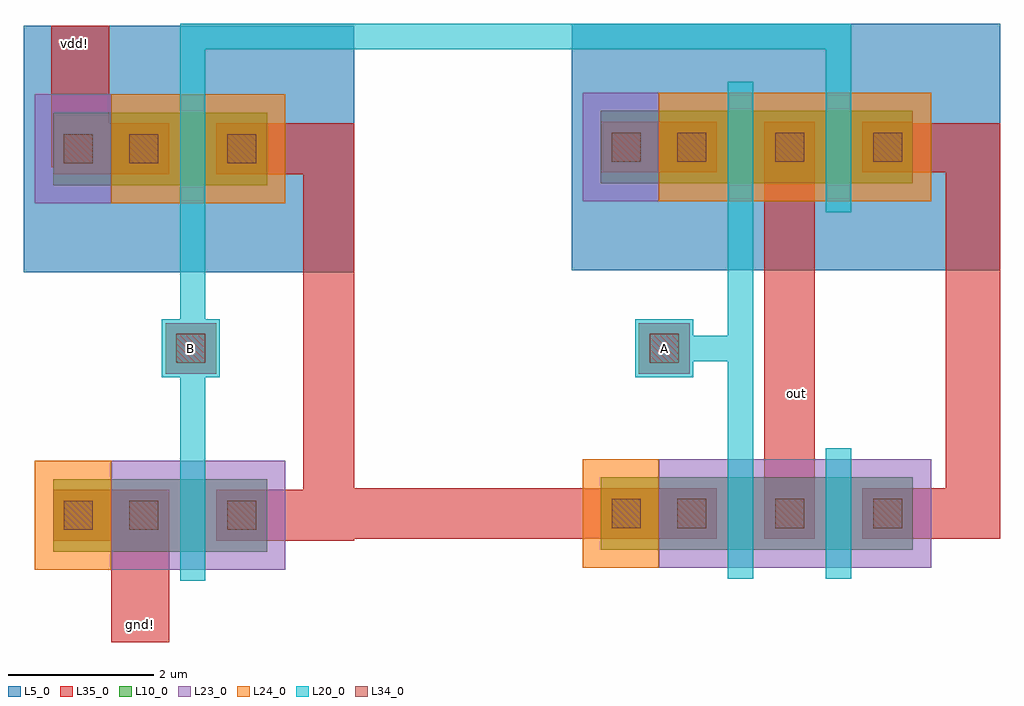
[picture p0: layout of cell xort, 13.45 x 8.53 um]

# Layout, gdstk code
from math import pi, radians
import gdstk
lib = gdstk.Library(unit=1e-6, precision=1e-09)
def R(c, l, rs):  # rectangles x0, y0, x1, y1
    for r in rs: c.add(gdstk.rectangle(r[:2], r[2:], *l))
L5_0 = (5, 0)
L10_0 = (10, 0)
L20_0 = (20, 0)
L23_0 = (23, 0)
L24_0 = (24, 0)
L34_0 = (34, 0)
L35_0 = (35, 0)

nmos4_cdns_713966862470 = lib.new_cell('nmos4_CDNS_713966862470')
R(nmos4_cdns_713966862470, L10_0, [(0,-0.2,1,0), (0,0.35,1,0.9), (0,1.15,1,1.2)])
R(nmos4_cdns_713966862470, L23_0, [(-0.25,-0.1,1.25,1.45)])
R(nmos4_cdns_713966862470, L24_0, [(-0.25,-1.15,1.25,-0.1)])
R(nmos4_cdns_713966862470, L34_0, [(0.3,-0.75,0.7,-0.35), (0.3,0.15,0.7,0.55)])
R(nmos4_cdns_713966862470, L35_0, [(0.15,-0.2,0.85,0)])
nmos4_cdns_713966862470.add(gdstk.FlexPath([(1,1.025),(1.4,1.025)], 0.35, ends="flush", simple_path=True, layer=20, datatype=0))  # L20_0
nmos4_cdns_713966862470.add(gdstk.FlexPath([(-0.4,1.025),(0,1.025)], 0.35, ends="flush", simple_path=True, layer=20, datatype=0))  # L20_0
nmos4_cdns_713966862470.add(gdstk.FlexPath([(0,1.025),(1,1.025)], 0.35, ends="flush", simple_path=True, layer=20, datatype=0))  # L20_0
nmos4_cdns_713966862470.add(gdstk.FlexPath([(0,-0.55),(1,-0.55)], 0.7, ends="flush", simple_path=True, layer=10, datatype=0))  # L10_0
nmos4_cdns_713966862470.add(gdstk.FlexPath([(0,0.35),(1,0.35)], 0.7, ends="flush", simple_path=True, layer=10, datatype=0))  # L10_0
nmos4_cdns_713966862470.add(gdstk.FlexPath([(0,1.025),(1,1.025)], 0.35, ends="flush", simple_path=True, layer=10, datatype=0))  # L10_0
nmos4_cdns_713966862470.add(gdstk.FlexPath([(0.15,-0.55),(0.85,-0.55)], 0.7, ends="flush", simple_path=True, layer=35, datatype=0))  # L35_0
nmos4_cdns_713966862470.add(gdstk.FlexPath([(0.15,0.35),(0.85,0.35)], 0.7, ends="flush", simple_path=True, layer=35, datatype=0))  # L35_0
nmos4_cdns_713966862470.add(gdstk.Label('B', (0.5,-0.55), layer=61, texttype=0))
nmos4_cdns_713966862470.add(gdstk.Label('S', (0.5,0.35), layer=61, texttype=0))

pmos4_cdns_713966862471 = lib.new_cell('pmos4_CDNS_713966862471')
R(pmos4_cdns_713966862471, L5_0, [(-1.2,-1.3,2.2,3.25), (-1.2,-1.3,2.2,3.25)])
R(pmos4_cdns_713966862471, L10_0, [(0,-0.2,1,0), (0,0.35,1,0.9), (0,1.15,1,2.2)])
R(pmos4_cdns_713966862471, L23_0, [(-0.25,-1.15,1.25,-0.1)])
R(pmos4_cdns_713966862471, L24_0, [(-0.25,-0.1,1.25,2.3)])
R(pmos4_cdns_713966862471, L34_0, [(0.3,-0.75,0.7,-0.35), (0.3,0.15,0.7,0.55), (0.3,1.5,0.7,1.9)])
R(pmos4_cdns_713966862471, L35_0, [(0.15,-0.2,0.85,0)])
pmos4_cdns_713966862471.add(gdstk.FlexPath([(1,1.025),(1.4,1.025)], 0.35, ends="flush", simple_path=True, layer=20, datatype=0))  # L20_0
pmos4_cdns_713966862471.add(gdstk.FlexPath([(-0.4,1.025),(0,1.025)], 0.35, ends="flush", simple_path=True, layer=20, datatype=0))  # L20_0
pmos4_cdns_713966862471.add(gdstk.FlexPath([(0,1.025),(1,1.025)], 0.35, ends="flush", simple_path=True, layer=20, datatype=0))  # L20_0
pmos4_cdns_713966862471.add(gdstk.FlexPath([(0,-0.55),(1,-0.55)], 0.7, ends="flush", simple_path=True, layer=10, datatype=0))  # L10_0
pmos4_cdns_713966862471.add(gdstk.FlexPath([(0,1.7),(1,1.7)], 0.7, ends="flush", simple_path=True, layer=10, datatype=0))  # L10_0
pmos4_cdns_713966862471.add(gdstk.FlexPath([(0,0.35),(1,0.35)], 0.7, ends="flush", simple_path=True, layer=10, datatype=0))  # L10_0
pmos4_cdns_713966862471.add(gdstk.FlexPath([(0,1.025),(1,1.025)], 0.35, ends="flush", simple_path=True, layer=10, datatype=0))  # L10_0
pmos4_cdns_713966862471.add(gdstk.FlexPath([(0.15,-0.55),(0.85,-0.55)], 0.7, ends="flush", simple_path=True, layer=35, datatype=0))  # L35_0
pmos4_cdns_713966862471.add(gdstk.FlexPath([(0.15,1.7),(0.85,1.7)], 0.7, ends="flush", simple_path=True, layer=35, datatype=0))  # L35_0
pmos4_cdns_713966862471.add(gdstk.FlexPath([(0.15,0.35),(0.85,0.35)], 0.7, ends="flush", simple_path=True, layer=35, datatype=0))  # L35_0
pmos4_cdns_713966862471.add(gdstk.Label('B', (0.5,-0.55), layer=61, texttype=0))
pmos4_cdns_713966862471.add(gdstk.Label('D', (0.5,1.7), layer=61, texttype=0))
pmos4_cdns_713966862471.add(gdstk.Label('S', (0.5,0.35), layer=61, texttype=0))

nmos4_cdns_713966862472 = lib.new_cell('nmos4_CDNS_713966862472')
R(nmos4_cdns_713966862472, L10_0, [(0,-0.2,1,0), (0,0.35,1,0.9), (0,1.15,1,1.7)])
R(nmos4_cdns_713966862472, L23_0, [(-0.25,-0.1,1.25,2.3)])
R(nmos4_cdns_713966862472, L24_0, [(-0.25,-1.15,1.25,-0.1)])
R(nmos4_cdns_713966862472, L34_0, [(0.3,-0.75,0.7,-0.35), (0.3,0.15,0.7,0.55), (0.3,1.5,0.7,1.9)])
R(nmos4_cdns_713966862472, L35_0, [(0.15,-0.2,0.85,0)])
nmos4_cdns_713966862472.add(gdstk.FlexPath([(1,1.025),(1.4,1.025)], 0.35, ends="flush", simple_path=True, layer=20, datatype=0))  # L20_0
nmos4_cdns_713966862472.add(gdstk.FlexPath([(-0.4,1.025),(0,1.025)], 0.35, ends="flush", simple_path=True, layer=20, datatype=0))  # L20_0
nmos4_cdns_713966862472.add(gdstk.FlexPath([(0,1.025),(1,1.025)], 0.35, ends="flush", simple_path=True, layer=20, datatype=0))  # L20_0
nmos4_cdns_713966862472.add(gdstk.FlexPath([(0,-0.55),(1,-0.55)], 0.7, ends="flush", simple_path=True, layer=10, datatype=0))  # L10_0
nmos4_cdns_713966862472.add(gdstk.FlexPath([(0,1.7),(1,1.7)], 0.7, ends="flush", simple_path=True, layer=10, datatype=0))  # L10_0
nmos4_cdns_713966862472.add(gdstk.FlexPath([(0,0.35),(1,0.35)], 0.7, ends="flush", simple_path=True, layer=10, datatype=0))  # L10_0
nmos4_cdns_713966862472.add(gdstk.FlexPath([(0,1.025),(1,1.025)], 0.35, ends="flush", simple_path=True, layer=10, datatype=0))  # L10_0
nmos4_cdns_713966862472.add(gdstk.FlexPath([(0.15,-0.55),(0.85,-0.55)], 0.7, ends="flush", simple_path=True, layer=35, datatype=0))  # L35_0
nmos4_cdns_713966862472.add(gdstk.FlexPath([(0.15,1.7),(0.85,1.7)], 0.7, ends="flush", simple_path=True, layer=35, datatype=0))  # L35_0
nmos4_cdns_713966862472.add(gdstk.FlexPath([(0.15,0.35),(0.85,0.35)], 0.7, ends="flush", simple_path=True, layer=35, datatype=0))  # L35_0
nmos4_cdns_713966862472.add(gdstk.Label('B', (0.5,-0.55), layer=61, texttype=0))
nmos4_cdns_713966862472.add(gdstk.Label('D', (0.5,1.7), layer=61, texttype=0))
nmos4_cdns_713966862472.add(gdstk.Label('S', (0.5,0.35), layer=61, texttype=0))

pmos4_cdns_713966862473 = lib.new_cell('pmos4_CDNS_713966862473')
R(pmos4_cdns_713966862473, L5_0, [(-1.2,-1.3,2.2,3.25), (-1.2,-1.3,2.2,3.25)])
R(pmos4_cdns_713966862473, L10_0, [(0,-0.2,1,0), (0,0.35,1,0.9), (0,1.15,1,1.7)])
R(pmos4_cdns_713966862473, L23_0, [(-0.25,-1.15,1.25,-0.1)])
R(pmos4_cdns_713966862473, L24_0, [(-0.25,-0.1,1.25,2.3)])
R(pmos4_cdns_713966862473, L34_0, [(0.3,-0.75,0.7,-0.35), (0.3,0.15,0.7,0.55), (0.3,1.5,0.7,1.9)])
R(pmos4_cdns_713966862473, L35_0, [(0.15,-0.2,0.85,0)])
pmos4_cdns_713966862473.add(gdstk.FlexPath([(1,1.025),(1.4,1.025)], 0.35, ends="flush", simple_path=True, layer=20, datatype=0))  # L20_0
pmos4_cdns_713966862473.add(gdstk.FlexPath([(-0.4,1.025),(0,1.025)], 0.35, ends="flush", simple_path=True, layer=20, datatype=0))  # L20_0
pmos4_cdns_713966862473.add(gdstk.FlexPath([(0,1.025),(1,1.025)], 0.35, ends="flush", simple_path=True, layer=20, datatype=0))  # L20_0
pmos4_cdns_713966862473.add(gdstk.FlexPath([(0,-0.55),(1,-0.55)], 0.7, ends="flush", simple_path=True, layer=10, datatype=0))  # L10_0
pmos4_cdns_713966862473.add(gdstk.FlexPath([(0,1.7),(1,1.7)], 0.7, ends="flush", simple_path=True, layer=10, datatype=0))  # L10_0
pmos4_cdns_713966862473.add(gdstk.FlexPath([(0,0.35),(1,0.35)], 0.7, ends="flush", simple_path=True, layer=10, datatype=0))  # L10_0
pmos4_cdns_713966862473.add(gdstk.FlexPath([(0,1.025),(1,1.025)], 0.35, ends="flush", simple_path=True, layer=10, datatype=0))  # L10_0
pmos4_cdns_713966862473.add(gdstk.FlexPath([(0.15,-0.55),(0.85,-0.55)], 0.7, ends="flush", simple_path=True, layer=35, datatype=0))  # L35_0
pmos4_cdns_713966862473.add(gdstk.FlexPath([(0.15,1.7),(0.85,1.7)], 0.7, ends="flush", simple_path=True, layer=35, datatype=0))  # L35_0
pmos4_cdns_713966862473.add(gdstk.FlexPath([(0.15,0.35),(0.85,0.35)], 0.7, ends="flush", simple_path=True, layer=35, datatype=0))  # L35_0
pmos4_cdns_713966862473.add(gdstk.Label('B', (0.5,-0.55), layer=61, texttype=0))
pmos4_cdns_713966862473.add(gdstk.Label('D', (0.5,1.7), layer=61, texttype=0))
pmos4_cdns_713966862473.add(gdstk.Label('S', (0.5,0.35), layer=61, texttype=0))

nmos4_cdns_713966862474 = lib.new_cell('nmos4_CDNS_713966862474')
R(nmos4_cdns_713966862474, L10_0, [(0,-0.15,1,0.9), (0,1.15,1,1.7)])
R(nmos4_cdns_713966862474, L23_0, [(-0.25,-0.25,1.25,2.3)])
R(nmos4_cdns_713966862474, L34_0, [(0.3,0.15,0.7,0.55), (0.3,1.5,0.7,1.9)])
nmos4_cdns_713966862474.add(gdstk.FlexPath([(1,1.025),(1.4,1.025)], 0.35, ends="flush", simple_path=True, layer=20, datatype=0))  # L20_0
nmos4_cdns_713966862474.add(gdstk.FlexPath([(-0.4,1.025),(0,1.025)], 0.35, ends="flush", simple_path=True, layer=20, datatype=0))  # L20_0
nmos4_cdns_713966862474.add(gdstk.FlexPath([(0,1.025),(1,1.025)], 0.35, ends="flush", simple_path=True, layer=20, datatype=0))  # L20_0
nmos4_cdns_713966862474.add(gdstk.FlexPath([(0,1.7),(1,1.7)], 0.7, ends="flush", simple_path=True, layer=10, datatype=0))  # L10_0
nmos4_cdns_713966862474.add(gdstk.FlexPath([(0,0.35),(1,0.35)], 0.7, ends="flush", simple_path=True, layer=10, datatype=0))  # L10_0
nmos4_cdns_713966862474.add(gdstk.FlexPath([(0,1.025),(1,1.025)], 0.35, ends="flush", simple_path=True, layer=10, datatype=0))  # L10_0
nmos4_cdns_713966862474.add(gdstk.FlexPath([(0.15,1.7),(0.85,1.7)], 0.7, ends="flush", simple_path=True, layer=35, datatype=0))  # L35_0
nmos4_cdns_713966862474.add(gdstk.FlexPath([(0.15,0.35),(0.85,0.35)], 0.7, ends="flush", simple_path=True, layer=35, datatype=0))  # L35_0
nmos4_cdns_713966862474.add(gdstk.Label('D', (0.5,1.7), layer=61, texttype=0))
nmos4_cdns_713966862474.add(gdstk.Label('S', (0.5,0.35), layer=61, texttype=0))

pmos4_cdns_713966862475 = lib.new_cell('pmos4_CDNS_713966862475')
R(pmos4_cdns_713966862475, L5_0, [(-1.2,-0.35,2.2,3.25), (-1.2,-0.35,2.2,3.25)])
R(pmos4_cdns_713966862475, L10_0, [(0,0.85,1,0.9), (0,1.15,1,1.7)])
R(pmos4_cdns_713966862475, L24_0, [(-0.25,0.6,1.25,2.3)])
R(pmos4_cdns_713966862475, L34_0, [(0.3,1.5,0.7,1.9)])
pmos4_cdns_713966862475.add(gdstk.FlexPath([(1,1.025),(1.4,1.025)], 0.35, ends="flush", simple_path=True, layer=20, datatype=0))  # L20_0
pmos4_cdns_713966862475.add(gdstk.FlexPath([(-0.4,1.025),(0,1.025)], 0.35, ends="flush", simple_path=True, layer=20, datatype=0))  # L20_0
pmos4_cdns_713966862475.add(gdstk.FlexPath([(0,1.025),(1,1.025)], 0.35, ends="flush", simple_path=True, layer=20, datatype=0))  # L20_0
pmos4_cdns_713966862475.add(gdstk.FlexPath([(0,1.7),(1,1.7)], 0.7, ends="flush", simple_path=True, layer=10, datatype=0))  # L10_0
pmos4_cdns_713966862475.add(gdstk.FlexPath([(0,1.025),(1,1.025)], 0.35, ends="flush", simple_path=True, layer=10, datatype=0))  # L10_0
pmos4_cdns_713966862475.add(gdstk.FlexPath([(0.15,1.7),(0.85,1.7)], 0.7, ends="flush", simple_path=True, layer=35, datatype=0))  # L35_0
pmos4_cdns_713966862475.add(gdstk.Label('D', (0.5,1.7), layer=61, texttype=0))

p1_c_cdns_713966862470 = lib.new_cell('P1_C_CDNS_713966862470')
R(p1_c_cdns_713966862470, L20_0, [(-0.4,-0.4,0.4,0.4)])
R(p1_c_cdns_713966862470, L34_0, [(-0.2,-0.2,0.2,0.2)])
R(p1_c_cdns_713966862470, L35_0, [(-0.35,-0.35,0.35,0.35)])

xort = lib.new_cell('xort')
R(xort, L35_0, [(1.2,0,2,2.1), (2.65,1.4,4.55,2.1), (4.4,1.425,9.55,2.125), (10.2,1.425,10.9,7.175), (11.55,1.425,13.425,2.125), (12.7,1.425,13.45,7.15), (3.85,1.75,4.55,7.125), (2.65,6.45,4.55,7.15), (11.55,6.475,13.45,7.15), (0.375,6.55,1.175,8.5)])
xort.add(gdstk.FlexPath([(9.875,4.05),(8.575,4.05)], 0.35, ends=(0.175, 0), simple_path=True, layer=20, datatype=0))  # L20_0
xort.add(gdstk.FlexPath([(9.875,4.05),(9.875,2.675)], 0.35, ends=(0.175, 0), simple_path=True, layer=20, datatype=0))  # L20_0
xort.add(gdstk.FlexPath([(11.225,8.35),(11.225,7.725)], 0.35, ends=(0.175, 0), simple_path=True, layer=20, datatype=0))  # L20_0
xort.add(gdstk.FlexPath([(2.325,8.35),(11.225,8.35)], 0.35, ends="extended", simple_path=True, layer=20, datatype=0))  # L20_0
xort.add(gdstk.FlexPath([(2.325,7.7),(2.325,8.35)], 0.35, ends=(0, 0.175), simple_path=True, layer=20, datatype=0))  # L20_0
xort.add(gdstk.FlexPath([(9.875,5.925),(9.875,4.05)], 0.35, ends=(0, 0.175), simple_path=True, layer=20, datatype=0))  # L20_0
xort.add(gdstk.FlexPath([(2.325,5.9),(2.325,2.65)], 0.35, ends="flush", simple_path=True, layer=20, datatype=0))  # L20_0
xort.add(gdstk.Reference(nmos4_cdns_713966862470, (8.85,2.275), rotation=3*pi/2))
xort.add(gdstk.Reference(pmos4_cdns_713966862471, (8.85,7.325), rotation=3*pi/2))
xort.add(gdstk.Reference(nmos4_cdns_713966862472, (1.3,2.25), rotation=3*pi/2))
xort.add(gdstk.Reference(pmos4_cdns_713966862473, (1.3,7.3), rotation=3*pi/2))
xort.add(gdstk.Reference(nmos4_cdns_713966862474, (10.2,2.275), rotation=3*pi/2))
xort.add(gdstk.Reference(pmos4_cdns_713966862475, (10.2,7.325), rotation=3*pi/2))
xort.add(gdstk.Reference(p1_c_cdns_713966862470, (8.825,4.05)))
xort.add(gdstk.Reference(p1_c_cdns_713966862470, (2.3,4.05)))
xort.add(gdstk.Label('vdd!', (0.7,8.25), layer=61, texttype=2))
xort.add(gdstk.Label('gnd!', (1.6,0.25), layer=61, texttype=2))
xort.add(gdstk.Label('out', (10.65,3.425), layer=61, texttype=2))
xort.add(gdstk.Label('B', (2.3,4.05), layer=61, texttype=2))
xort.add(gdstk.Label('A', (8.825,4.05), layer=61, texttype=2))

lib.write_gds('xort.gds')
